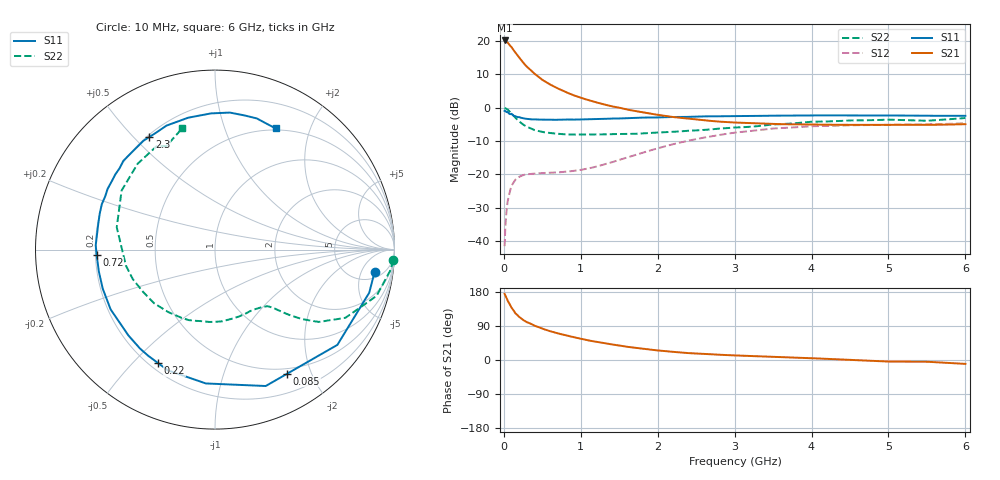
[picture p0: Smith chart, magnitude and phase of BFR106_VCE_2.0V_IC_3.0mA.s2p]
! Infineon Technologies  Discrete & RF Semiconductors
! BFR106
! VCE =  2.0 V,  IC =  3.0 mA
! Common Emitter S-Parameters:  Nov 2015
# GHz  S  MA  R  50
!  f  S11  S21  S12  S22
! GHz  MAG  ANG  MAG  ANG  MAG  ANG  MAG  ANG
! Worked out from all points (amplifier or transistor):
!   210 points, 10 MHz to 6 GHz, reference 50 ohm
!   highest |S21| = 20.2 dB at 10 MHz (marker M1)
!   |S21| within 3 dB of that: start of sweep to 129.6 MHz
!   unconditionally stable (mu >= 1): 699.9 MHz to 2.174 GHz; 3.594 GHz to end of sweep
!   at 185 MHz: K = 0.30, MSG = 18.3 dB, |S12| = -21.0 dB
!   at 1.52 GHz: K = 1.19, MAG = 5.1 dB, |S12| = -15.5 dB
!   at 6 GHz: K = 1.02, MAG = -1.1 dB, |S12| = -4.7 dB
!   S11 on the Smith chart (normalised r, x): 10 MHz: 7, -9; 85 MHz: 0.43, -1.66; 220 MHz: 0.23, -0.59; 720 MHz: 0.20, -0.02; 2.3 GHz: 0.21, +0.56; 6 GHz: 0.48, +1.51
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0.01  0.8979 -7.9  10.25 174.4  0.0083 85.7  0.9955 -3.4
0.02  0.8923 -15.6  10.2 170.3  0.0164 84.0  0.9834 -6.8
0.05  0.8641 -37.9  9.536 156.0  0.0393 69.8  0.9363 -16.0
0.085  0.7999 -59.8  8.47 144.0  0.0585 58.0  0.851 -23.8
0.1  0.8109 -69.6  8.147 138.0  0.0672 55.0  0.82 -27.6
0.15  0.7475 -93.9  6.749 123.2  0.0828 44.1  0.7044 -34.9
0.2  0.7223 -111.3  5.662 113.6  0.0914 38.0  0.6223 -38.5
0.22  0.7073 -116.7  5.296 110.7  0.0936 36.1  0.5964 -39.5
0.26  0.6918 -127.1  4.643 104.5  0.0977 32.9  0.5496 -41.4
0.3  0.6794 -135.2  4.125 99.8  0.0999 31.3  0.5171 -42.7
0.4  0.6702 -150.2  3.233 90.4  0.1026 28.6  0.4604 -44.9
0.5  0.6623 -160.8  2.627 82.6  0.1041 28.4  0.4314 -47.0
0.6  0.6586 -169.4  2.238 76.0  0.1056 29.7  0.4164 -49.9
0.72  0.6601 -177.6  1.907 69.4  0.107 32.7  0.4045 -54.2
1.02  0.6672 166.4  1.388 55.2  0.1174 43.1  0.3956 -66.0
1.4  0.6874 150.6  1.051 41.3  0.1507 54.8  0.4016 -84.2
2.02  0.7151 128.9  0.776 24.9  0.2488 58.1  0.4239 -117.2
2.3  0.7261 120.2  0.704 19.9  0.3012 54.9  0.4412 -132.9
3.1  0.75 99.5  0.593 11.4  0.4336 39.6  0.5088 -174.8
4.1  0.7667 82.5  0.556 3.9  0.529 19.3  0.6174 144.5
5.1  0.7645 71.3  0.553 -4.2  0.5559 4.0  0.6565 118.6
6  0.755 63.4  0.566 -10.2  0.5837 -6.1  0.7002 105.1
